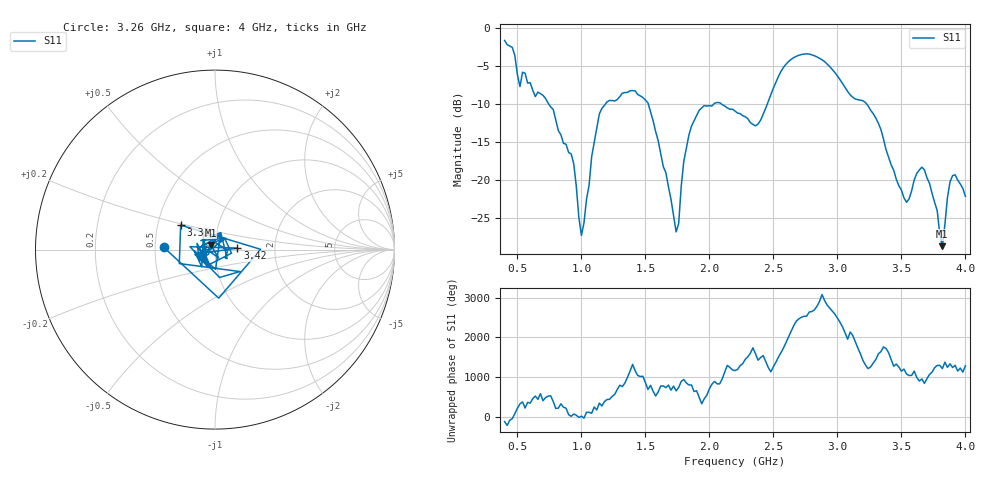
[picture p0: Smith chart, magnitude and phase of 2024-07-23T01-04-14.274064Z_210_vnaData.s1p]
!Created with skrf (http://scikit-rf.org).
# Hz S RI R 50.0
!freq ReS11 ImS11
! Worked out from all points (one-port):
!   181 points, 400 MHz to 4 GHz, reference 50 ohm
!   lowest |S11| = -28.8 dB at 3.82 GHz (marker M1), VSWR 1.08, Z = 47.5 + j2.52 ohm
!   |S11| at or under -10 dB: 742.3 MHz to 1.19 GHz (447.8 MHz wide, 46.3 % of centre); 1.522 GHz to 2.037 GHz (515.9 MHz wide, 29 % of centre); 3.226 GHz to end of sweep (the widest 3 of 4)
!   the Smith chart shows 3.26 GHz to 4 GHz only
!   S11 on the Smith chart (normalised r, x): 3.26 GHz: 0.56, +0.02; 3.32 GHz: 0.66, +0.19; 3.42 GHz: 1.29, +0.02; 4 GHz: 0.87, -0.06
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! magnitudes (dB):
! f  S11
! 400 MHz  -1.7
! 460 MHz  -2.6
! 520 MHz  -7.8
! 560 MHz  -6.0
! 720 MHz  -9.3
! 860 MHz  -15.2
! 940 MHz  -17.9
! 1 GHz  -27.3
! 1.14 GHz  -11.4
! 1.3 GHz  -9.1
! 1.52 GHz  -9.9
! 1.74 GHz  -26.9
! 1.76 GHz  -25.8
! 1.8 GHz  -17.6
! 1.9 GHz  -11.6
! 2.2 GHz  -11.0
! 2.38 GHz  -12.7
! 2.66 GHz  -3.9
! 2.88 GHz  -4.2
! 3.1 GHz  -8.8
! 3.26 GHz  -10.9
! 3.32 GHz  -12.6
! 3.42 GHz  -18.1
! 3.56 GHz  -22.5
! 3.68 GHz  -18.7
! 3.82 GHz  -28.8
! 3.9 GHz  -19.5
! 4 GHz  -22.2
